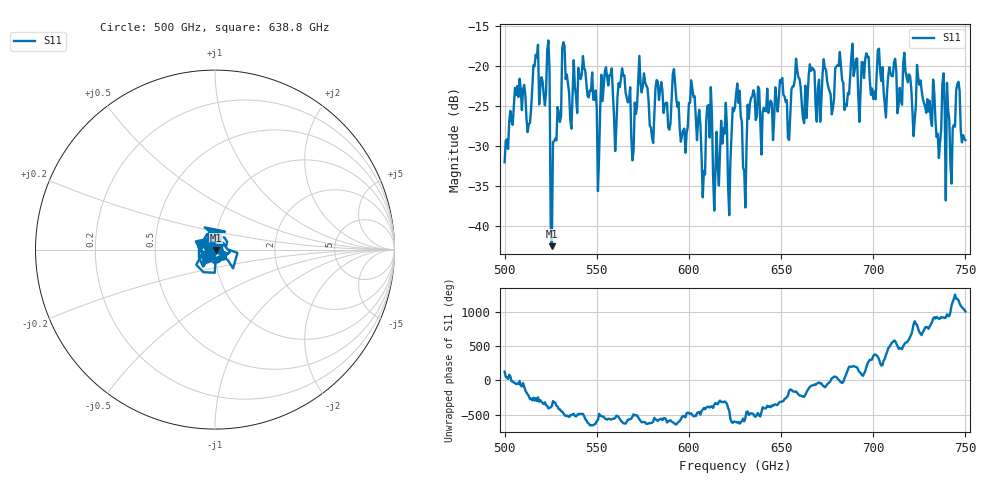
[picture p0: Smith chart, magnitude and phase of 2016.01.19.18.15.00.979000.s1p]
!Created with skrf (http://scikit-rf.org).
# GHz S RI R 50.0
!freq ReS11 ImS11
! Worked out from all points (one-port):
!   401 points, 500 GHz to 750 GHz, reference 50 ohm
!   lowest |S11| = -42.5 dB at 525.6 GHz (marker M1), VSWR 1.02, Z = 50.7 - j0.203 ohm
!   |S11| at or under -10 dB: start of sweep to end of sweep
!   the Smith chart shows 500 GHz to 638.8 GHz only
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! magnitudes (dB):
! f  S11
! 500 GHz  -32.0
! 506.9 GHz  -22.5
! 513.1 GHz  -27.2
! 516.9 GHz  -18.5
! 523.1 GHz  -18.0
! 525.6 GHz  -42.5
! 531.2 GHz  -17.8
! 543.1 GHz  -20.2
! 550.6 GHz  -35.6
! 562.5 GHz  -22.6
! 570 GHz  -30.5
! 574.4 GHz  -23.3
! 580 GHz  -28.9
! 593.8 GHz  -25.1
! 596.9 GHz  -28.0
! 601.9 GHz  -22.8
! 607.5 GHz  -36.4
! 611.2 GHz  -28.9
! 615 GHz  -28.2
! 618.8 GHz  -27.8
! 622.5 GHz  -32.0
! 625 GHz  -25.1
! 630 GHz  -33.1
! 634.4 GHz  -23.8
! 656.2 GHz  -22.5
! 687.5 GHz  -21.3
! 718.8 GHz  -22.0
! 750 GHz  -29.2
